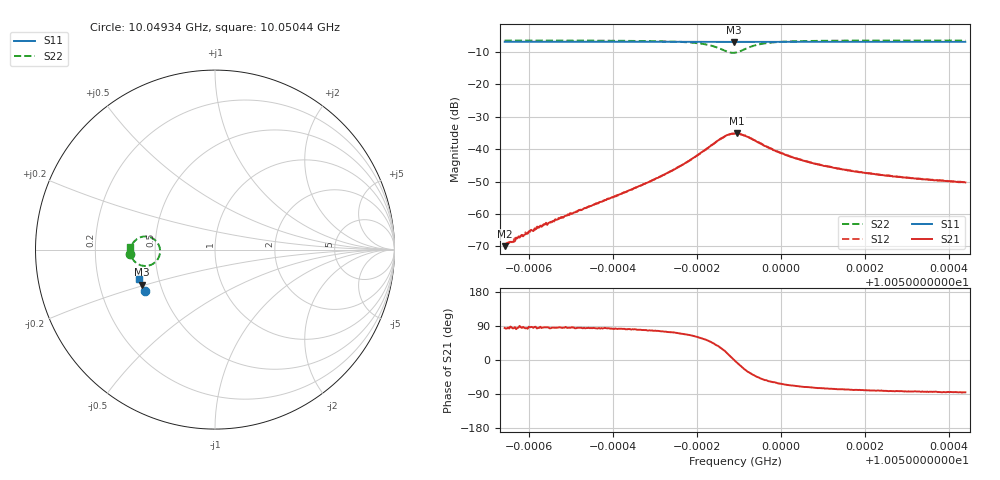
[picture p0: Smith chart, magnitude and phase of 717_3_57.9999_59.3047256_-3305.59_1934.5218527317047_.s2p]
#  HZ  S  RI  R  50.00
! Rohde & Schwarz Vector Network Analyzer
! Rohde-Schwarz,ZNB20-2Port,1311601062101988,3.16
! Created: UTC 3/21/2024, 1:22:26 AM
! freq[Hz]  re:S11  im:S11  re:S21  im:S21  re:S12  im:S12  re:S22  im:S22
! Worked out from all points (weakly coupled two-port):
!   401 points, 10.04934 GHz to 10.05044 GHz, reference 50 ohm
!   highest |S21| = -35.13 dB at 10.0499 GHz (marker M1); lowest = -69.9 dB at 10.04934 GHz (marker M2)
!   lowest |S11| = -6.9 dB at 10.04989 GHz (marker M3), VSWR 2.64, Z = 19.7 - j9.71 ohm
!   |S11| at or under -10 dB: nowhere
!   |S22| runs from -10.3 to -6.5 dB; largest |S21 - S12| = 0.0015
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1.0049341e10  -0.3925 -0.2285  3e-05 0.000318  -2.38e-05 0.000325  -0.4741 -0.0246
1.0049361e10  -0.3931 -0.2273  4.32e-05 0.000376  -5.94e-06 0.000368  -0.4738 -0.023
1.0049374e10  -0.3936 -0.2266  3.63e-05 0.000441  2.84e-05 0.00045  -0.4737 -0.0217
1.0049391e10  -0.3941 -0.2256  5.49e-05 0.000483  2.21e-05 0.000519  -0.4737 -0.0201
1.0049421e10  -0.395 -0.2239  6.12e-05 0.000635  1.59e-06 0.000613  -0.4737 -0.0169
1.0049525e10  -0.3982 -0.2176  0.000111 0.00115  2.66e-05 0.00118  -0.4724 -0.00474
1.0049632e10  -0.4013 -0.2111  0.000347 0.00219  0.000202 0.00222  -0.4687 0.0118
1.0049709e10  -0.4035 -0.2065  0.000862 0.00359  0.000683 0.00364  -0.4613 0.0294
1.004978e10  -0.4053 -0.2019  0.00266 0.00603  0.00234 0.00616  -0.4404 0.0549
1.0049816e10  -0.4061 -0.1995  0.00536 0.0078  0.00485 0.00805  -0.4123 0.0699
1.0049841e10  -0.4064 -0.198  0.00906 0.00835  0.00845 0.0089  -0.3763 0.0724
1.0049868e10  -0.4065 -0.1965  0.015 0.00582  0.0145 0.00672  -0.3232 0.0418
1.0049887e10  -0.4065 -0.1958  0.0173 0.000249  0.0173 0.00163  -0.306 -0.012
1.004989e10  -0.4067 -0.1958  0.0175 -0.000683  0.0174 0.000743  -0.3067 -0.0204
1.0049896e10  -0.4068 -0.1957  0.0174 -0.00233  0.0174 -0.000945  -0.3108 -0.0368
1.0049923e10  -0.4078 -0.1947  0.0129 -0.00813  0.0135 -0.0072  -0.3609 -0.0866
1.0049962e10  -0.4096 -0.1926  0.0067 -0.00894  0.00759 -0.00857  -0.4208 -0.0847
1.0050003e10  -0.4109 -0.1902  0.00384 -0.00765  0.00433 -0.00747  -0.4488 -0.0653
1.0050074e10  -0.4131 -0.1857  0.00183 -0.00583  0.00216 -0.00578  -0.4656 -0.0399
1.0050143e10  -0.4148 -0.1815  0.00109 -0.00479  0.00139 -0.00475  -0.4708 -0.0243
1.0050258e10  -0.4179 -0.1744  0.000547 -0.00381  0.000794 -0.00385  -0.474 -0.00644
1.0050439e10  -0.4218 -0.1631  0.000245 -0.00306  0.000437 -0.00304  -0.475 0.0132
